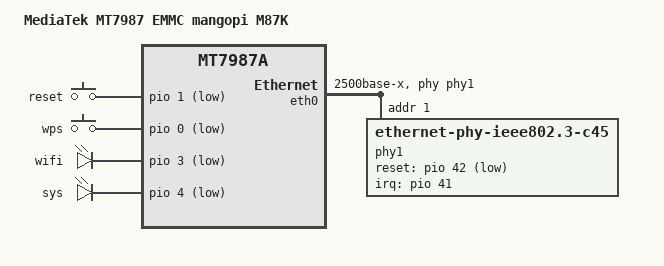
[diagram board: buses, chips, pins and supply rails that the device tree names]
// SPDX-License-Identifier: GPL-2.0

/dts-v1/;
#include "mt7987a-emmc-board-common.dtsi"

/ {
	model = "MediaTek MT7987 EMMC mangopi M87K";
	compatible = "mediatek,mt7987", "mediatek,mt7987-emmc-rfb",
			"mediatek,mt7987a";

	config {
		blink_led = "wifi";
		system_led = "sys";
	};

	gpio-keys {
		compatible = "gpio-keys";

		reset {
			label = "reset";
			linux,code = <KEY_RESTART>;
			gpios = <&pio 1 GPIO_ACTIVE_LOW>;
			debounce-interval = <10>;
		};

		wps {
			label = "wps";
			linux,code = <KEY_WPS_BUTTON>;
			gpios = <&pio 0 GPIO_ACTIVE_LOW>;
			debounce-interval = <10>;
		};
	};

	leds {
		compatible = "gpio-leds";
		led0 {
			label = "wifi";
			gpios = <&pio 3 GPIO_ACTIVE_LOW>;
			default-state = "off";
		};

		led1 {
			label = "sys";
			gpios = <&pio 4 GPIO_ACTIVE_LOW>;
			default-state = "off";
		};
	};
};

&eth0 {
	status = "okay";
	phy-mode = "2500base-x";
	phy-handle = <&phy1>;

	phy1: ethernet-phy@1 {
		compatible = "ethernet-phy-ieee802.3-c45";
		reg = <1>;
		reset-assert-us = <100000>;
		reset-deassert-us = <100000>;
		reset-gpios = <&pio 42 GPIO_ACTIVE_LOW>;
		interrupts = <41 IRQ_TYPE_LEVEL_LOW>;
		interrupt-parent = <&pio>;
		realtek,aldps-enable;
		realtek,led-link-select = <0xa7 0xa7 0x0>;
	};
};
